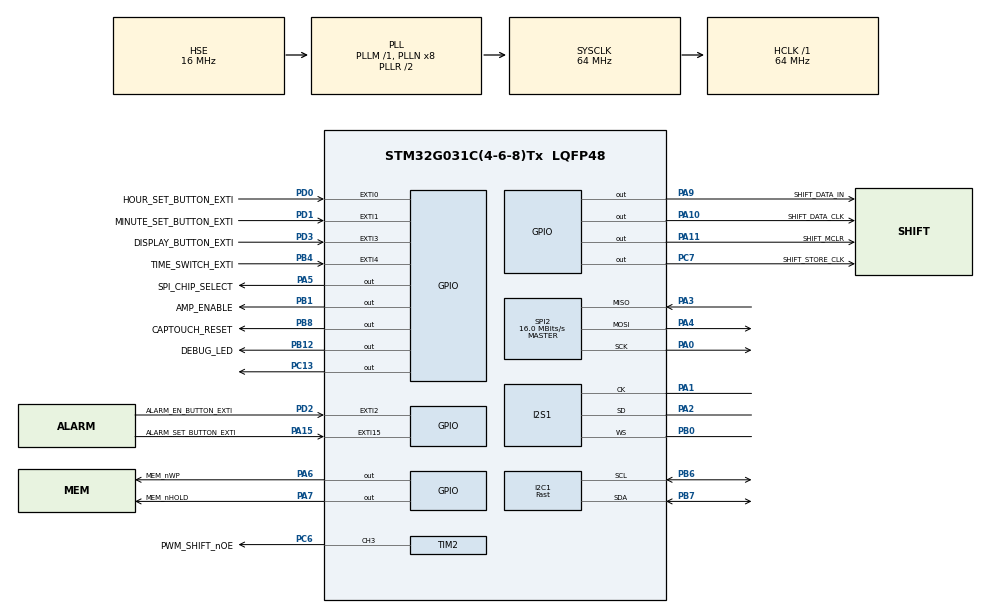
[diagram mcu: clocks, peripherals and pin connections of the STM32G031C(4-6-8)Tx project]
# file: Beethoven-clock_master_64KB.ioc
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Dma.Request0=SPI2_RX
Dma.Request1=SPI2_TX
Dma.Request2=SPI1_TX
Dma.SPI1_TX.2.Direction=DMA_MEMORY_TO_PERIPH
Dma.SPI1_TX.2.EventEnable=DISABLE
Dma.SPI1_TX.2.Instance=DMA1_Channel1
Dma.SPI1_TX.2.MemDataAlignment=DMA_MDATAALIGN_HALFWORD
Dma.SPI1_TX.2.MemInc=DMA_MINC_ENABLE
Dma.SPI1_TX.2.Mode=DMA_CIRCULAR
Dma.SPI1_TX.2.PeriphDataAlignment=DMA_PDATAALIGN_HALFWORD
Dma.SPI1_TX.2.PeriphInc=DMA_PINC_DISABLE
Dma.SPI1_TX.2.Polarity=HAL_DMAMUX_REQ_GEN_RISING
Dma.SPI1_TX.2.Priority=DMA_PRIORITY_VERY_HIGH
Dma.SPI1_TX.2.RequestNumber=1
Dma.SPI1_TX.2.SignalID=NONE
Dma.SPI1_TX.2.SyncEnable=DISABLE
Dma.SPI1_TX.2.SyncPolarity=HAL_DMAMUX_SYNC_NO_EVENT
Dma.SPI1_TX.2.SyncRequestNumber=1
Dma.SPI1_TX.2.SyncSignalID=NONE
Dma.SPI2_RX.0.Direction=DMA_PERIPH_TO_MEMORY
Dma.SPI2_RX.0.EventEnable=DISABLE
Dma.SPI2_RX.0.Instance=DMA1_Channel3
Dma.SPI2_RX.0.MemDataAlignment=DMA_MDATAALIGN_BYTE
Dma.SPI2_RX.0.MemInc=DMA_MINC_ENABLE
Dma.SPI2_RX.0.Mode=DMA_NORMAL
Dma.SPI2_RX.0.PeriphDataAlignment=DMA_PDATAALIGN_BYTE
Dma.SPI2_RX.0.PeriphInc=DMA_PINC_DISABLE
Dma.SPI2_RX.0.Polarity=HAL_DMAMUX_REQ_GEN_RISING
Dma.SPI2_RX.0.Priority=DMA_PRIORITY_HIGH
Dma.SPI2_RX.0.RequestNumber=1
Dma.SPI2_RX.0.SignalID=NONE
Dma.SPI2_RX.0.SyncEnable=DISABLE
Dma.SPI2_RX.0.SyncPolarity=HAL_DMAMUX_SYNC_NO_EVENT
Dma.SPI2_RX.0.SyncRequestNumber=1
Dma.SPI2_RX.0.SyncSignalID=NONE
Dma.SPI2_TX.1.Direction=DMA_MEMORY_TO_PERIPH
Dma.SPI2_TX.1.EventEnable=DISABLE
Dma.SPI2_TX.1.Instance=DMA1_Channel2
Dma.SPI2_TX.1.MemDataAlignment=DMA_MDATAALIGN_BYTE
Dma.SPI2_TX.1.MemInc=DMA_MINC_ENABLE
Dma.SPI2_TX.1.Mode=DMA_NORMAL
Dma.SPI2_TX.1.PeriphDataAlignment=DMA_PDATAALIGN_BYTE
Dma.SPI2_TX.1.PeriphInc=DMA_PINC_DISABLE
Dma.SPI2_TX.1.Polarity=HAL_DMAMUX_REQ_GEN_RISING
Dma.SPI2_TX.1.Priority=DMA_PRIORITY_HIGH
Dma.SPI2_TX.1.RequestNumber=1
Dma.SPI2_TX.1.SignalID=NONE
Dma.SPI2_TX.1.SyncEnable=DISABLE
Dma.SPI2_TX.1.SyncPolarity=HAL_DMAMUX_SYNC_NO_EVENT
Dma.SPI2_TX.1.SyncRequestNumber=1
Dma.SPI2_TX.1.SyncSignalID=NONE
I2C1.I2C_Speed_Mode=I2C_Fast
I2C1.Timing=0x00C12166
I2S1.AudioFreq=I2S_AUDIOFREQ_44K
I2S1.ErrorAudioFreq=1.0 %
I2S1.FullDuplexMode=I2S_FULLDUPLEXMODE_DISABLE
I2S1.Instance=SPI$Index
I2S1.RealAudioFreq=44.444 KHz
I2S1.VirtualMode=I2S_MODE_MASTER
Mcu.Family=STM32G0
Mcu.Name=STM32G031C(4-6-8)Tx
Mcu.Package=LQFP48
NVIC.DMA1_Channel1_IRQn=true\:0\:0\:false\:false\:true\:false\:true\:true
NVIC.DMA1_Channel2_3_IRQn=true\:0\:0\:false\:false\:true\:false\:true\:true
NVIC.EXTI0_1_IRQn=true\:1\:0\:true\:false\:true\:true\:true\:true
NVIC.EXTI2_3_IRQn=true\:2\:0\:true\:false\:true\:true\:true\:true
NVIC.EXTI4_15_IRQn=true\:2\:0\:true\:false\:true\:true\:true\:true
NVIC.RCC_IRQn=true\:0\:0\:false\:false\:true\:true\:false\:true
NVIC.RTC_TAMP_IRQn=true\:0\:0\:false\:false\:true\:true\:true\:true
NVIC.TIM16_IRQn=true\:1\:0\:true\:false\:true\:true\:true\:true
PA0.Mode=Full_Duplex_Master
PA0.Signal=SPI2_SCK
PA1.Mode=Half_Duplex_Master
PA1.Signal=I2S1_CK
PA10.GPIO_Label=SHIFT_DATA_CLK
PA10.Signal=GPIO_Output
PA11\ [PA9].GPIO_Label=SHIFT_MCLR
PA11\ [PA9].PinState=GPIO_PIN_SET
PA11\ [PA9].Signal=GPIO_Output
PA13.Mode=Serial_Wire
PA13.Signal=SYS_SWDIO
PA14-BOOT0.Mode=Serial_Wire
PA14-BOOT0.Signal=SYS_SWCLK
PA15.GPIO_Label=ALARM_SET_BUTTON_EXTI
PA15.GPIO_ModeDefaultEXTI=GPIO_MODE_IT_FALLING
PA15.GPIO_PuPd=GPIO_PULLUP
PA15.Signal=GPXTI15
PA2.Mode=Half_Duplex_Master
PA2.Signal=I2S1_SD
PA3.Mode=Full_Duplex_Master
PA3.Signal=SPI2_MISO
PA4.Mode=Full_Duplex_Master
PA4.Signal=SPI2_MOSI
PA5.GPIO_Label=SPI_CHIP_SELECT
PA5.PinState=GPIO_PIN_SET
PA5.Signal=GPIO_Output
PA6.GPIO_Label=MEM_nWP
PA6.PinState=GPIO_PIN_SET
PA6.Signal=GPIO_Output
PA7.GPIO_Label=MEM_nHOLD
PA7.PinState=GPIO_PIN_SET
PA7.Signal=GPIO_Output
PA9.GPIO_Label=SHIFT_DATA_IN
PA9.Signal=GPIO_Output
PB0.Mode=Half_Duplex_Master
PB0.Signal=I2S1_WS
PB1.GPIO_Label=AMP_ENABLE
PB1.Signal=GPIO_Output
PB12.GPIO_Label=DEBUG_LED
PB12.Signal=GPIO_Output
PB4.GPIO_Label=TIME_SWITCH_EXTI
PB4.GPIO_ModeDefaultEXTI=GPIO_MODE_IT_RISING_FALLING
PB4.GPIO_PuPd=GPIO_PULLUP
PB4.Signal=GPXTI4
PB6.Mode=I2C
PB6.Signal=I2C1_SCL
PB7.Mode=I2C
PB7.Signal=I2C1_SDA
PB8.GPIO_Label=CAPTOUCH_RESET
PB8.PinState=GPIO_PIN_SET
PB8.Signal=GPIO_Output
PC13.Signal=GPIO_Output
PC14-OSC32_IN\ (PC14).Mode=LSE-External-Oscillator
PC14-OSC32_IN\ (PC14).Signal=RCC_OSC32_IN
PC15-OSC32_OUT\ (PC15).Mode=LSE-External-Oscillator
PC15-OSC32_OUT\ (PC15).Signal=RCC_OSC32_OUT
PC6.GPIO_Label=PWM_SHIFT_nOE
PC6.Signal=S_TIM2_CH3
PC7.GPIO_Label=SHIFT_STORE_CLK
PC7.Signal=GPIO_Output
PD0.GPIO_Label=HOUR_SET_BUTTON_EXTI
PD0.GPIO_ModeDefaultEXTI=GPIO_MODE_IT_FALLING
PD0.GPIO_PuPd=GPIO_PULLUP
PD0.Signal=GPXTI0
PD1.GPIO_Label=MINUTE_SET_BUTTON_EXTI
PD1.GPIO_ModeDefaultEXTI=GPIO_MODE_IT_FALLING
PD1.GPIO_PuPd=GPIO_PULLUP
PD1.Signal=GPXTI1
PD2.GPIO_Label=ALARM_EN_BUTTON_EXTI
PD2.GPIO_ModeDefaultEXTI=GPIO_MODE_IT_FALLING
PD2.GPIO_PuPd=GPIO_PULLUP
PD2.Signal=GPXTI2
PD3.GPIO_Label=DISPLAY_BUTTON_EXTI
PD3.GPIO_ModeDefaultEXTI=GPIO_MODE_IT_FALLING
PD3.GPIO_PuPd=GPIO_PULLUP
PD3.Signal=GPXTI3
PF0-OSC_IN\ (PF0).Mode=HSE-External-Oscillator
PF0-OSC_IN\ (PF0).Signal=RCC_OSC_IN
PF1-OSC_OUT\ (PF1).Mode=HSE-External-Oscillator
PF1-OSC_OUT\ (PF1).Signal=RCC_OSC_OUT
ProjectManager.HeapSize=0x200
ProjectManager.StackSize=0x400
ProjectManager.TargetToolchain=STM32CubeIDE
RCC.ADCFreq_Value=64000000
RCC.AHBFreq_Value=64000000
RCC.CortexFreq_Value=64000000
RCC.EXTERNAL_CLOCK_VALUE=12288000
RCC.HCLKFreq_Value=64000000
RCC.HSE_VALUE=16000000
RCC.HSI_VALUE=16000000
RCC.PLLP=RCC_PLLP_DIV4
RCC.PLLSourceVirtual=RCC_PLLSOURCE_HSE
RCC.RTCClockSelection=RCC_RTCCLKSOURCE_LSE
RCC.SYSCLKFreq_VALUE=64000000
RCC.SYSCLKSource=RCC_SYSCLKSOURCE_PLLCLK
RCC.VCOOutputFreq_Value=128000000
RTC.Alarm-Alarm\ A=RTC_ALARM_A
RTC.AlarmMaskDateWeekDay-Alarm\ A=RTC_ALARMMASK_DATEWEEKDAY
RTC.AlarmMaskHours-Alarm\ A=RTC_ALARMMASK_HOURS
RTC.AlarmMaskSeconds-Alarm\ A=RTC_ALARMMASK_SECONDS
RTC.HourFormat=RTC_HOURFORMAT_12
RTC.Minutes_A-Alarm\ A=1
SH.S_TIM2_CH3.0=TIM2_CH3,PWM Generation3 CH3
SPI2.BaudRatePrescaler=SPI_BAUDRATEPRESCALER_4
SPI2.CLKPhase=SPI_PHASE_1EDGE
SPI2.CalculateBaudRate=16.0 MBits/s
SPI2.Direction=SPI_DIRECTION_2LINES
SPI2.Mode=SPI_MODE_MASTER
SPI2.VirtualType=VM_MASTER
TIM14.Prescaler=244*4
TIM16.Prescaler=58595
TIM16.RepetitionCounter=10
TIM2.Channel-PWM\ Generation3\ CH3=TIM_CHANNEL_3
TIM2.Period=100-1
TIM2.Prescaler=800-1
VP_RTC_VS_RTC_Activate.Mode=RTC_Enabled
VP_RTC_VS_RTC_Alarm_A_Intern.Mode=Alarm A
VP_RTC_VS_RTC_Calendar.Mode=RTC_Calendar
VP_TIM14_VS_ClockSourceINT.Mode=Enable_Timer
VP_TIM16_VS_ClockSourceINT.Mode=Enable_Timer
board=custom

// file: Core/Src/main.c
/* USER CODE BEGIN Header */
/**
  ******************************************************************************
  * @file           : main.c
  * @brief          : Main program body
  ******************************************************************************
  * @attention
  *
  * Copyright (c) 2024 STMicroelectronics.
  * All rights reserved.
  *
  * This software is licensed under terms that can be found in the LICENSE file
  * in the root directory of this software component.
  * If no LICENSE file comes with this software, it is provided AS-IS.
  *
  ******************************************************************************
  */
/* USER CODE END Header */
#include "main.h"

/* USER CODE BEGIN Includes */

/*
 * Include user alarm functions
 */
#ifndef ALARM_H_
#include "alarm.h"
#endif

/*
 * Include shift register library for quad 7-segment displays
 */
#ifndef SEVSEG_SHIFT_H_
#include "sevSeg_shift.h"
#endif

/*
 * Include board-specific variable mappings
 */
#ifndef BEETHOVENCLOCKVARS_H_
#include "beethovenClockVars.h"
#endif

/*
 * Include cap. touch interface library
 */
#ifndef AT42QT1070_H_
#include "AT42QT1070.h"
#endif

/*
 * Include SPI Flash Memeory Driver
 */
#ifndef W25QXXX_H_
#include "W25Qxxx.h"
#endif

/*
 * Include I2S Amplifier Driver
 */
#ifndef NAU8315YG_H_
#include "NAU8315YG.h"
#endif

/* USER CODE END Includes */

I2C_HandleTypeDef hi2c1;

I2S_HandleTypeDef hi2s1;
DMA_HandleTypeDef hdma_spi1_tx;

RTC_HandleTypeDef hrtc;

SPI_HandleTypeDef hspi2;
DMA_HandleTypeDef hdma_spi2_rx;
DMA_HandleTypeDef hdma_spi2_tx;

TIM_HandleTypeDef htim2;
TIM_HandleTypeDef htim14;
TIM_HandleTypeDef htim16;

/* USER CODE BEGIN PV */

/*
 * Timer to be used for PWMing display
 */
TIM_HandleTypeDef *timerPWM = &htim2;

/*
 * Timer to be used for non-blocking delays
 */
TIM_HandleTypeDef *timerDelay = &htim14;

/*
 * Timer to be used for long 10-minute snooze
 */
TIM_HandleTypeDef *timerSnooze = &htim16;

/*
 * Counts up to timerSnooze_RCR for long snooze delay
 */

uint8_t snoozeCounter = 0;

/*
 * State bools
 */

// Used to flag alarm set mode
bool alarmSetMode = false;

/*
 * Used to indicate whether the clock is in a
 * state to sound a snoozed alarm again after 10 minutes.
 * false = regular operation, true = 10-minute snooze period
 */
bool secondSnooze = false;

// Used to indicate whether or not we are in alarm beep state
bool beepMode = false;

/*
 * Cap. touch struct
 */
QT1070 capTouch;

/*
 * SPI Flash memory struct
 */
W25Q spiFlash;

/*
 * I2S amplifier struct
 */
NAU8315YG i2sAmp;

/*
 * DMA buffers & flags
 */

// Two buffers to ping-pong in between for SPI RX
uint8_t spiRxBuff[BUFFER_SIZE];

// Single circular output buffer to TX I2S audio data
uint16_t i2sTxBuff[BUFFER_SIZE * 2];
//uint16_t i2sTxBuff[BUFFER_SIZE * 2];

// Variable to keep track of where to read audio data from in memory
uint32_t flashReadAddr = initialMemoryOffset;

/* USER CODE END PV */

void SystemClock_Config(void);
static void MX_GPIO_Init(void);
static void MX_DMA_Init(void);
static void MX_I2C1_Init(void);
static void MX_I2S1_Init(void);
static void MX_RTC_Init(void);
static void MX_SPI2_Init(void);
static void MX_TIM2_Init(void);
static void MX_TIM14_Init(void);
static void MX_TIM16_Init(void);
/* USER CODE BEGIN PFP */

/*
 * Call to fetch the current time from the RTC and send to the LED display.
 *
 * @param none
 *
 * @ret HAL status object
 */
HAL_StatusTypeDef updateAndDisplayTime(void);

/*
 * Call to fetch the current alarm from the RTC and send to the LED display.
 *
 * @param none
 *
 * @ret HAL status object
 */
HAL_StatusTypeDef updateAndDisplayAlarm(void);

/*
 * Called on interrupt from display button to toggle 7-segment intensity.
 *
 * @param none
 *
 * @ret HAL status object
 */
HAL_StatusTypeDef displayButtonISR(void);

/*
 * Called on interrupt from alarm enable button to toggle user alarm.
 *
 * @param none
 *
 * @ret HAL status object
 */
HAL_StatusTypeDef alarmEnableISR(void);

/*
 * Called on interrupt from alarm set button to enter alarm set loop.
 *
 * @param none
 *
 * @ret HAL status object
 */
HAL_StatusTypeDef alarmSetISR(void);

/*
 * Called on interrupt from hour and minute set buttons.
 * Contain logic to set user alarm hour or minute.
 *
 * @param none
 *
 * @ret HAL status object
 */
HAL_StatusTypeDef hourSetISR(void);
HAL_StatusTypeDef minuteSetISR(void);

/*
 * Called on interrupt from time format switch
 * Contains logic to change RTC time format
 */
HAL_StatusTypeDef timeFormatSwitchISR(void);

/*
 * Hour and minute incrementing functions for alarm time and current time
 */
void alarmHourInc(void);
void currHourInc(void);
void alarmMinuteInc(void);
void currMinuteInc(void);

/*
 * Enters loop to signal user alarm
 */
void userAlarmBeep(void);

/*
 * Displays non-critical error on debug LED and continues functionality
 */
void dispFault();

/*
 * Displays Critical Error on clock and halts all functionality
 */
void dispFailure();

/*
 * Updates RTC Backup Registers with user alarm time
 */
void updateRTCBackupReg(void);

/*
 * Begins double-buffered DMA streams to provide audio output
 */
void startAudioStream(void);

/*
 * Halts double-buffered DMA streams
 */
void stopAudioStream(void);

/*
 * Converts the passed RTC time to the same time expressed in 24 hour (military) time
 */
RTC_TimeTypeDef conv2Mil(RTC_TimeTypeDef *oldTime);

// Fills I2S tx buffer at a given array index offset
void fillTxBuffer(uint16_t offset);

/* USER CODE END PFP */

int main(void)
{

  /* MCU Configuration--------------------------------------------------------*/

  /* Reset of all peripherals, Initializes the Flash interface and the Systick. */
	HAL_Init();

  /* Configure the system clock */
  SystemClock_Config();

  /* Initialize all configured peripherals */
  MX_GPIO_Init();
  MX_DMA_Init();
  MX_RTC_Init();
  MX_I2C1_Init();
  MX_I2S1_Init();
  MX_SPI2_Init();
  MX_TIM2_Init();
  MX_TIM14_Init();
  MX_TIM16_Init();
  /* USER CODE BEGIN 2 */

	  // HAL Status handle for error-checking
	  HAL_StatusTypeDef halRet = HAL_OK;

	  // Determine which time format we will be using
	  	if(HAL_GPIO_ReadPin(timeFormatSwitchPort, timeFormatSwitchPin) == userTimeFormatGPIO_12) {
	  	  userTimeFormat = RTC_HOURFORMAT_12;
	  	}
	  	else {
	  	  userTimeFormat = RTC_HOURFORMAT_24;
	  	}

  	  // Set Smooth Calibration Value
	  halRet = HAL_RTCEx_SetSmoothCalib(&hrtc, RTC_SMOOTHCALIB_PERIOD_8SEC,
									RTC_SMOOTHCALIB_PLUSPULSES_RESET, rtcCalVal);
	  if(halRet != HAL_OK) {
		  // Failure to talk to RTC is a hard failure
		  dispFailure();
	  }

	  // Init the internal RTC alarm time to track the current time
	  halRet = initRTCInternalAlarm(&hrtc, &currTime, &currDate);
	  if(halRet != HAL_OK) {
		  // Failure to initialize RTC alarm is a hard failure
		  dispFailure();
		}

	  // Initialize all GPIOs to be used with 7 segment display
		sevSeg_Init(shiftDataPin, shiftDataClockPin, shiftStoreClockPin,
					shiftOutputEnablePin, shiftMCLRPin,
					GPIOPortArray, timerDelay, timerPWM, tim_PWM_CHANNEL);

		halRet = updateAndDisplayTime();
		if(halRet != HAL_OK) {
		  // Failure to display current time is a hard failure
		  dispFailure();
		}

    /*
     * Initialize capacitive touch sensor
     */

		// Used to separate return initializations into critical and non-critical errors.
		uint8_t initRet = 0;

		initRet = capTouch_Init(&capTouch, &hi2c1, timerDelay,
								&capTouchResetPort, capTouchResetPin, capTouchChannels);
		if( (initRet == 1) || (initRet == 3) || (initRet == 4)) {

			/* Critical Errors:
			 * 1 = Failure to read correct device ID
			 * 2 = Failure to read Keys
			 * 3 = Failure to enable keys
			 */
			dispFailure();
		}
		else if (initRet == 2) {
			/*
			 * Non-critical Errors:
			 * 2 = Failure to Recalibrate
			 */
			dispFault();
		}
		else if(initRet == 0) {
			// initRet = 0 = all is well
			__NOP();
		}

		// Set averaging factor
		uint8_t avgFactors_New[7] = {AVGFact, AVGFact, AVGFact, AVGFact, 0, 0, 0};
		halRet = capTouch_SetAveragingFactor(&capTouch, avgFactors_New);

		if(halRet != HAL_OK) {
			// This is sensitivity-setting and a non-critical error
			dispFault();
		}

		// Set detection integration factors
		uint8_t detIntFactors_New[7] = {DIFact, DIFact, DIFact, DIFact, DIFact, DIFact, DIFact};
		halRet = capTouch_SetDetectionIntegrator(&capTouch, detIntFactors_New);
		if(halRet != HAL_OK) {
			// This is sensitivity-setting and a non-critical error
			dispFault();
		}

		userAlarmToggle = false;			//Default to off

    /*
     * If the bootstrap backup register reads 0x00 (never written to,)
     * initialize the alarm time to a default value.
     *
     * Else, initialize to whatever is stored in backup registers.
     */

		if((uint8_t)HAL_RTCEx_BKUPRead(&hrtc, bootstrapBackupReg) == 0) {

			HAL_RTCEx_BKUPWrite(&hrtc, userAlarmHourBackupReg, 0x01);
			HAL_RTCEx_BKUPWrite(&hrtc, userAlarmMinuteBackupReg, 0x00);
			HAL_RTCEx_BKUPWrite(&hrtc, userAlarmTFBackupReg, RTC_HOURFORMAT12_AM);

			// Write backup register with a non-zero value to signify that it has been initialized before
			HAL_RTCEx_BKUPWrite(&hrtc, bootstrapBackupReg, 0xFFFFFFFF);

		}

		userAlarmTime.Hours = (uint8_t)HAL_RTCEx_BKUPRead(&hrtc, userAlarmHourBackupReg);
		userAlarmTime.Minutes = (uint8_t)HAL_RTCEx_BKUPRead(&hrtc, userAlarmMinuteBackupReg);
		userAlarmTime.TimeFormat = (uint8_t)HAL_RTCEx_BKUPRead(&hrtc, userAlarmTFBackupReg);

		// Init Memory Chip
		initRet = W25Q_Init(&spiFlash, nCSPort, nWPPort, nHOLDPort,
	    		 nCSPin, nWPPin, nHOLDPin, &hspi2, spiFlash_devID, spiFlash_isQuadChip, spiFlash_driveStrength);

		// Enter error loop if there's an error in initialization
		if( (initRet == 1) || (initRet == 7) ) {
			/* Critical Errors:
			* 1 = Failure to release chip from power down
			* 7 = Failure to disable write protection
			*/
			dispFailure();
		}
		else if ( ((initRet >= 2) && (initRet <= 6)) || (initRet == 8) ) {
			/*
			* Non-critical Errors:
			* 2 = Failure to reset chip
			* 3,6,8 = Failure to read status registers
			* 4 = Failure to set driver strength
			* 5 = Failure to read device ID
			*/
			dispFault();
		}
		else if(initRet == 0) {
			// initRet = 0 = all is well
			__NOP();
		}

		// Init i2s amplifier
		NAU8315YG_Init(&i2sAmp, &hi2s1, i2sAmp_enablePort, i2sAmp_enablePin);

		// Increase SPI clk driver power
		GPIOA->OSPEEDR |= 0b11;

//		startAudioStream();

  /* USER CODE END 2 */

  /* Infinite loop */
  while (1)
  {
	  if(beepMode) {
		  userAlarmBeep();
	  }

  }
}

void SystemClock_Config(void)
{
  RCC_OscInitTypeDef RCC_OscInitStruct = {0};
  RCC_ClkInitTypeDef RCC_ClkInitStruct = {0};

  /** Configure the main internal regulator output voltage
  */
  HAL_PWREx_ControlVoltageScaling(PWR_REGULATOR_VOLTAGE_SCALE1);

  /** Configure LSE Drive Capability
  */
  HAL_PWR_EnableBkUpAccess();
  __HAL_RCC_LSEDRIVE_CONFIG(RCC_LSEDRIVE_LOW);

  /** Initializes the RCC Oscillators according to the specified parameters
  * in the RCC_OscInitTypeDef structure.
  */
  RCC_OscInitStruct.OscillatorType = RCC_OSCILLATORTYPE_HSE|RCC_OSCILLATORTYPE_LSE;
  RCC_OscInitStruct.HSEState = RCC_HSE_ON;
  RCC_OscInitStruct.LSEState = RCC_LSE_ON;
  RCC_OscInitStruct.PLL.PLLState = RCC_PLL_ON;
  RCC_OscInitStruct.PLL.PLLSource = RCC_PLLSOURCE_HSE;
  RCC_OscInitStruct.PLL.PLLM = RCC_PLLM_DIV1;
  RCC_OscInitStruct.PLL.PLLN = 8;
  RCC_OscInitStruct.PLL.PLLP = RCC_PLLP_DIV4;
  RCC_OscInitStruct.PLL.PLLQ = RCC_PLLQ_DIV2;
  RCC_OscInitStruct.PLL.PLLR = RCC_PLLR_DIV2;
  if (HAL_RCC_OscConfig(&RCC_OscInitStruct) != HAL_OK)
  {
    Error_Handler();
  }

  /** Initializes the CPU, AHB and APB buses clocks
  */
  RCC_ClkInitStruct.ClockType = RCC_CLOCKTYPE_HCLK|RCC_CLOCKTYPE_SYSCLK
                              |RCC_CLOCKTYPE_PCLK1;
  RCC_ClkInitStruct.SYSCLKSource = RCC_SYSCLKSOURCE_PLLCLK;
  RCC_ClkInitStruct.AHBCLKDivider = RCC_SYSCLK_DIV1;
  RCC_ClkInitStruct.APB1CLKDivider = RCC_HCLK_DIV1;

  if (HAL_RCC_ClockConfig(&RCC_ClkInitStruct, FLASH_LATENCY_2) != HAL_OK)
  {
    Error_Handler();
  }
}

static void MX_I2C1_Init(void)
{

  hi2c1.Instance = I2C1;
  hi2c1.Init.Timing = 0x00C12166;
  hi2c1.Init.OwnAddress1 = 0;
  hi2c1.Init.AddressingMode = I2C_ADDRESSINGMODE_7BIT;
  hi2c1.Init.DualAddressMode = I2C_DUALADDRESS_DISABLE;
  hi2c1.Init.OwnAddress2 = 0;
  hi2c1.Init.OwnAddress2Masks = I2C_OA2_NOMASK;
  hi2c1.Init.GeneralCallMode = I2C_GENERALCALL_DISABLE;
  hi2c1.Init.NoStretchMode = I2C_NOSTRETCH_DISABLE;
  if (HAL_I2C_Init(&hi2c1) != HAL_OK)
  {
    Error_Handler();
  }

  /** Configure Analogue filter
  */
  if (HAL_I2CEx_ConfigAnalogFilter(&hi2c1, I2C_ANALOGFILTER_ENABLE) != HAL_OK)
  {
    Error_Handler();
  }

  /** Configure Digital filter
  */
  if (HAL_I2CEx_ConfigDigitalFilter(&hi2c1, 0) != HAL_OK)
  {
    Error_Handler();
  }

}

static void MX_I2S1_Init(void)
{

  hi2s1.Instance = SPI1;
  hi2s1.Init.Mode = I2S_MODE_MASTER_TX;
  hi2s1.Init.Standard = I2S_STANDARD_PHILIPS;
  hi2s1.Init.DataFormat = I2S_DATAFORMAT_16B;
  hi2s1.Init.MCLKOutput = I2S_MCLKOUTPUT_DISABLE;
  hi2s1.Init.AudioFreq = I2S_AUDIOFREQ_44K;
  hi2s1.Init.CPOL = I2S_CPOL_LOW;
  if (HAL_I2S_Init(&hi2s1) != HAL_OK)
  {
    Error_Handler();
  }

}

static void MX_RTC_Init(void)
{

//  RTC_TimeTypeDef sTime = {0};
//  RTC_DateTypeDef sDate = {0};
  RTC_AlarmTypeDef sAlarm = {0};

  /** Initialize RTC Only
  */
  hrtc.Instance = RTC;
  hrtc.Init.HourFormat = RTC_HOURFORMAT_12;
  hrtc.Init.AsynchPrediv = 127;
  hrtc.Init.SynchPrediv = 255;
  hrtc.Init.OutPut = RTC_OUTPUT_DISABLE;
  hrtc.Init.OutPutRemap = RTC_OUTPUT_REMAP_NONE;
  hrtc.Init.OutPutPolarity = RTC_OUTPUT_POLARITY_HIGH;
  hrtc.Init.OutPutType = RTC_OUTPUT_TYPE_OPENDRAIN;
  hrtc.Init.OutPutPullUp = RTC_OUTPUT_PULLUP_NONE;
  if (HAL_RTC_Init(&hrtc) != HAL_OK)
  {
    Error_Handler();
  }

  /** Initialize RTC and set the Time and Date
  */
//  sTime.Hours = 0x1;
//  sTime.Minutes = 0x0;
//  sTime.Seconds = 0x0;
//  sTime.SubSeconds = 0x0;
//  sTime.TimeFormat = RTC_HOURFORMAT12_AM;
//  sTime.DayLightSaving = RTC_DAYLIGHTSAVING_NONE;
//  sTime.StoreOperation = RTC_STOREOPERATION_RESET;
//  if (HAL_RTC_SetTime(&hrtc, &sTime, RTC_FORMAT_BCD) != HAL_OK)
//  {
//    Error_Handler();
//  }
//  sDate.WeekDay = RTC_WEEKDAY_MONDAY;
//  sDate.Month = RTC_MONTH_JANUARY;
//  sDate.Date = 0x1;
//  sDate.Year = 0x0;
//
//  if (HAL_RTC_SetDate(&hrtc, &sDate, RTC_FORMAT_BCD) != HAL_OK)
//  {
//    Error_Handler();
//  }

  /** Enable the Alarm A
  */
  sAlarm.AlarmTime.Hours = 0x1;
  sAlarm.AlarmTime.Minutes = 0x1;
  sAlarm.AlarmTime.Seconds = 0x0;
  sAlarm.AlarmTime.SubSeconds = 0x0;
  sAlarm.AlarmTime.TimeFormat = RTC_HOURFORMAT12_AM;
  sAlarm.AlarmTime.DayLightSaving = RTC_DAYLIGHTSAVING_NONE;
  sAlarm.AlarmTime.StoreOperation = RTC_STOREOPERATION_RESET;
  sAlarm.AlarmMask = RTC_ALARMMASK_DATEWEEKDAY|RTC_ALARMMASK_HOURS
                              |RTC_ALARMMASK_SECONDS;
  sAlarm.AlarmSubSecondMask = RTC_ALARMSUBSECONDMASK_ALL;
  sAlarm.AlarmDateWeekDaySel = RTC_ALARMDATEWEEKDAYSEL_DATE;
  sAlarm.AlarmDateWeekDay = 0x1;
  sAlarm.Alarm = RTC_ALARM_A;
  if (HAL_RTC_SetAlarm_IT(&hrtc, &sAlarm, RTC_FORMAT_BCD) != HAL_OK)
  {
    Error_Handler();
  }
  /* USER CODE BEGIN RTC_Init 2 */

  // Do not initialize time - pull from whatever is in register
    HAL_RTC_GetTime(&hrtc, &currTime, RTCTimeFormat);

  /* USER CODE END RTC_Init 2 */

}

static void MX_SPI2_Init(void)
{

  /* SPI2 parameter configuration*/
  hspi2.Instance = SPI2;
  hspi2.Init.Mode = SPI_MODE_MASTER;
  hspi2.Init.Direction = SPI_DIRECTION_2LINES;
  hspi2.Init.DataSize = SPI_DATASIZE_8BIT;
  hspi2.Init.CLKPolarity = SPI_POLARITY_LOW;
  hspi2.Init.CLKPhase = SPI_PHASE_1EDGE;
  hspi2.Init.NSS = SPI_NSS_SOFT;
  hspi2.Init.BaudRatePrescaler = SPI_BAUDRATEPRESCALER_4;
  hspi2.Init.FirstBit = SPI_FIRSTBIT_MSB;
  hspi2.Init.TIMode = SPI_TIMODE_DISABLE;
  hspi2.Init.CRCCalculation = SPI_CRCCALCULATION_DISABLE;
  hspi2.Init.CRCPolynomial = 7;
  hspi2.Init.CRCLength = SPI_CRC_LENGTH_DATASIZE;
  hspi2.Init.NSSPMode = SPI_NSS_PULSE_DISABLE;
  if (HAL_SPI_Init(&hspi2) != HAL_OK)
  {
    Error_Handler();
  }

}

static void MX_TIM2_Init(void)
{

  TIM_MasterConfigTypeDef sMasterConfig = {0};
  TIM_OC_InitTypeDef sConfigOC = {0};

  htim2.Instance = TIM2;
  htim2.Init.Prescaler = 800-1;
  htim2.Init.CounterMode = TIM_COUNTERMODE_UP;
  htim2.Init.Period = 100-1;
  htim2.Init.ClockDivision = TIM_CLOCKDIVISION_DIV1;
  htim2.Init.AutoReloadPreload = TIM_AUTORELOAD_PRELOAD_DISABLE;
  if (HAL_TIM_PWM_Init(&htim2) != HAL_OK)
  {
    Error_Handler();
  }
  sMasterConfig.MasterOutputTrigger = TIM_TRGO_RESET;
  sMasterConfig.MasterSlaveMode = TIM_MASTERSLAVEMODE_DISABLE;
  if (HAL_TIMEx_MasterConfigSynchronization(&htim2, &sMasterConfig) != HAL_OK)
  {
    Error_Handler();
  }
  sConfigOC.OCMode = TIM_OCMODE_PWM1;
  sConfigOC.Pulse = 0;
  sConfigOC.OCPolarity = TIM_OCPOLARITY_HIGH;
  sConfigOC.OCFastMode = TIM_OCFAST_DISABLE;
  if (HAL_TIM_PWM_ConfigChannel(&htim2, &sConfigOC, TIM_CHANNEL_3) != HAL_OK)
  {
    Error_Handler();
  }
  HAL_TIM_MspPostInit(&htim2);

}

static void MX_TIM14_Init(void)
{

  htim14.Instance = TIM14;
  htim14.Init.Prescaler = 244*4;
  htim14.Init.CounterMode = TIM_COUNTERMODE_UP;
  htim14.Init.Period = 65535;
  htim14.Init.ClockDivision = TIM_CLOCKDIVISION_DIV1;
  htim14.Init.AutoReloadPreload = TIM_AUTORELOAD_PRELOAD_DISABLE;
  if (HAL_TIM_Base_Init(&htim14) != HAL_OK)
  {
    Error_Handler();
  }

}

static void MX_TIM16_Init(void)
{

  htim16.Instance = TIM16;
  htim16.Init.Prescaler = (58595 / 10) - 1;
  htim16.Init.CounterMode = TIM_COUNTERMODE_UP;
  htim16.Init.Period = 65535;
  htim16.Init.ClockDivision = TIM_CLOCKDIVISION_DIV1;
  htim16.Init.RepetitionCounter = 0;
  htim16.Init.AutoReloadPreload = TIM_AUTORELOAD_PRELOAD_DISABLE;
  if (HAL_TIM_Base_Init(&htim16) != HAL_OK)
  {
    Error_Handler();
  }
  /* USER CODE BEGIN TIM16_Init 2 */

  // Decrease interrupt priority
  HAL_NVIC_SetPriority(TIM16_IRQn, 1, 0);
  HAL_NVIC_EnableIRQ(TIM16_IRQn);

  // Clear SR interrupts
  __HAL_TIM_CLEAR_IT(timerSnooze, TIM_IT_UPDATE);

  /* USER CODE END TIM16_Init 2 */

}

static void MX_DMA_Init(void)
{

  /* DMA controller clock enable */
  __HAL_RCC_DMA1_CLK_ENABLE();

  /* DMA interrupt init */
  /* DMA1_Channel1_IRQn interrupt configuration */
  HAL_NVIC_SetPriority(DMA1_Channel1_IRQn, 0, 0);
  HAL_NVIC_EnableIRQ(DMA1_Channel1_IRQn);
  /* DMA1_Channel2_3_IRQn interrupt configuration */
  HAL_NVIC_SetPriority(DMA1_Channel2_3_IRQn, 0, 0);
  HAL_NVIC_EnableIRQ(DMA1_Channel2_3_IRQn);

}

static void MX_GPIO_Init(void)
{
  GPIO_InitTypeDef GPIO_InitStruct = {0};

  /* GPIO Ports Clock Enable */
  __HAL_RCC_GPIOC_CLK_ENABLE();
  __HAL_RCC_GPIOF_CLK_ENABLE();
  __HAL_RCC_GPIOA_CLK_ENABLE();
  __HAL_RCC_GPIOB_CLK_ENABLE();
  __HAL_RCC_GPIOD_CLK_ENABLE();

  /*Configure GPIO pin Output Level */
  HAL_GPIO_WritePin(GPIOC, GPIO_PIN_13|SHIFT_STORE_CLK_Pin, GPIO_PIN_RESET);

  /*Configure GPIO pin Output Level */
  HAL_GPIO_WritePin(GPIOA, SPI_CHIP_SELECT_Pin|MEM_nWP_Pin|MEM_nHOLD_Pin|SHIFT_MCLR_Pin, GPIO_PIN_SET);

  /*Configure GPIO pin Output Level */
  HAL_GPIO_WritePin(GPIOB, AMP_ENABLE_Pin|DEBUG_LED_Pin, GPIO_PIN_RESET);

  /*Configure GPIO pin Output Level */
  HAL_GPIO_WritePin(GPIOA, SHIFT_DATA_IN_Pin|SHIFT_DATA_CLK_Pin, GPIO_PIN_RESET);

  /*Configure GPIO pin Output Level */
  HAL_GPIO_WritePin(CAPTOUCH_RESET_GPIO_Port, CAPTOUCH_RESET_Pin, GPIO_PIN_SET);

  /*Configure GPIO pins : PC13 SHIFT_STORE_CLK_Pin */
  GPIO_InitStruct.Pin = GPIO_PIN_13|SHIFT_STORE_CLK_Pin;
  GPIO_InitStruct.Mode = GPIO_MODE_OUTPUT_PP;
  GPIO_InitStruct.Pull = GPIO_NOPULL;
  GPIO_InitStruct.Speed = GPIO_SPEED_FREQ_LOW;
  HAL_GPIO_Init(GPIOC, &GPIO_InitStruct);

  /*Configure GPIO pins : SPI_CHIP_SELECT_Pin MEM_nWP_Pin MEM_nHOLD_Pin SHIFT_DATA_IN_Pin
                           SHIFT_DATA_CLK_Pin SHIFT_MCLR_Pin */
  GPIO_InitStruct.Pin = SPI_CHIP_SELECT_Pin|MEM_nWP_Pin|MEM_nHOLD_Pin|SHIFT_DATA_IN_Pin
                          |SHIFT_DATA_CLK_Pin|SHIFT_MCLR_Pin;
  GPIO_InitStruct.Mode = GPIO_MODE_OUTPUT_PP;
  GPIO_InitStruct.Pull = GPIO_NOPULL;
  GPIO_InitStruct.Speed = GPIO_SPEED_FREQ_LOW;
  HAL_GPIO_Init(GPIOA, &GPIO_InitStruct);

  /*Configure GPIO pins : AMP_ENABLE_Pin DEBUG_LED_Pin CAPTOUCH_RESET_Pin */
  GPIO_InitStruct.Pin = AMP_ENABLE_Pin|DEBUG_LED_Pin|CAPTOUCH_RESET_Pin;
  GPIO_InitStruct.Mode = GPIO_MODE_OUTPUT_PP;
  GPIO_InitStruct.Pull = GPIO_NOPULL;
  GPIO_InitStruct.Speed = GPIO_SPEED_FREQ_LOW;
  HAL_GPIO_Init(GPIOB, &GPIO_InitStruct);

  /*Configure GPIO pin : ALARM_SET_BUTTON_EXTI_Pin */
  GPIO_InitStruct.Pin = ALARM_SET_BUTTON_EXTI_Pin;
  GPIO_InitStruct.Mode = GPIO_MODE_IT_FALLING;
  GPIO_InitStruct.Pull = GPIO_PULLUP;
  HAL_GPIO_Init(ALARM_SET_BUTTON_EXTI_GPIO_Port, &GPIO_InitStruct);

  /*Configure GPIO pins : HOUR_SET_BUTTON_EXTI_Pin MINUTE_SET_BUTTON_EXTI_Pin ALARM_EN_BUTTON_EXTI_Pin DISPLAY_BUTTON_EXTI_Pin */
  GPIO_InitStruct.Pin = HOUR_SET_BUTTON_EXTI_Pin|MINUTE_SET_BUTTON_EXTI_Pin|ALARM_EN_BUTTON_EXTI_Pin|DISPLAY_BUTTON_EXTI_Pin;
  GPIO_InitStruct.Mode = GPIO_MODE_IT_FALLING;
  GPIO_InitStruct.Pull = GPIO_PULLUP;
  HAL_GPIO_Init(GPIOD, &GPIO_InitStruct);

  /*Configure GPIO pin : TIME_SWITCH_EXTI_Pin */
  GPIO_InitStruct.Pin = TIME_SWITCH_EXTI_Pin;
  GPIO_InitStruct.Mode = GPIO_MODE_IT_RISING_FALLING;
  GPIO_InitStruct.Pull = GPIO_PULLUP;
  HAL_GPIO_Init(TIME_SWITCH_EXTI_GPIO_Port, &GPIO_InitStruct);

  /* EXTI interrupt init*/
  HAL_NVIC_SetPriority(EXTI0_1_IRQn, 1, 0);
  HAL_NVIC_EnableIRQ(EXTI0_1_IRQn);

  HAL_NVIC_SetPriority(EXTI2_3_IRQn, 2, 0);
  HAL_NVIC_EnableIRQ(EXTI2_3_IRQn);

  HAL_NVIC_SetPriority(EXTI4_15_IRQn, 2, 0);
  HAL_NVIC_EnableIRQ(EXTI4_15_IRQn);

}

/* USER CODE BEGIN 4 */

/*
 * Pulls updated time from RTC and send new time to user display
 */
HAL_StatusTypeDef updateAndDisplayTime(void) {

	HAL_StatusTypeDef halRet = HAL_OK;

	getRTCTime(&hrtc, &currTime, &currDate);

	// If the user wants 24-hour time, shift the time accordingly
	if((userTimeFormat == RTC_HOURFORMAT_24)) {

		RTC_TimeTypeDef currTimeMil = conv2Mil(&currTime);

		sevSeg_updateDigits(&currTimeMil, userAlarmToggle);

	}
	else {
		sevSeg_updateDigits(&currTime, userAlarmToggle);
	}

	return halRet;

}

/*
 * Sends current user alarm time to user display
 * This doesn't pull from the RTC because the RTC alarm is not being used for that
 */

HAL_StatusTypeDef updateAndDisplayAlarm(void) {

	HAL_StatusTypeDef halRet = HAL_OK;

	// If the user wants 24-hour time, shift the time accordingly
	if((userTimeFormat == RTC_HOURFORMAT_24)) {

		RTC_TimeTypeDef userAlarmTimeMil = conv2Mil(&userAlarmTime);

		sevSeg_updateDigits(&userAlarmTimeMil, userAlarmToggle);

	}
	else {
		sevSeg_updateDigits(&userAlarmTime, userAlarmToggle);
	}

	return halRet;

}

/*
 * Interrupt callback function for RTC interrupt kickback
 * Occurs every minute increment
 *
 * Pulls alarm time from RTC, increments and sets new alarm time, and updates time.
 * Sets off user alarm if the alarm is enabled.
 */
void HAL_RTC_AlarmAEventCallback(RTC_HandleTypeDef *hrtc) {

	  RTC_AlarmTypeDef sAlarm = {0};
	  HAL_RTC_GetAlarm(hrtc, &sAlarm, internalAlarm, RTCTimeFormat);

	  getRTCTime(hrtc, &currTime, &currDate);

	  if(currTime.Minutes > 58) {

	  		sAlarm.AlarmTime.Minutes = 0;

	  	  } else {

	  		sAlarm.AlarmTime.Minutes = currTime.Minutes + 1;

	  	  }
		while(HAL_RTC_SetAlarm_IT(hrtc, &sAlarm, FORMAT_BIN)!=HAL_OK){}

	  updateAndDisplayTime();

	  // If alarm is enabled and current time matches user alarm time, set off the alarm.
	  if(userAlarmToggle && userAlarmTime.Hours == currTime.Hours
			  && userAlarmTime.Minutes == currTime.Minutes && userAlarmTime.TimeFormat == currTime.TimeFormat) {
		  beepMode = true;
	  }

}

/*
 * If user alarm is enabled and the RTC time equals the user alarm time, this function is entered.
 *
 * This function blinks the display LEDs and plays sound until the user
 * disables this beeping through cap. touch or the alarm enable button.
 *
 * Functionality depends on whether or not this is the first or second snooze.
 * 		First Snooze: 10-minute timer is started and alarm
 * 		              is beeped again at the end of this 10 minutes.
 * 		Second Snooze: No timer is started and silencing the alarm silences it for good.
 */
void userAlarmBeep() {

	if (secondSnooze) { 		//If the user has already snoozed once,

		// Stop the timer and
		HAL_TIM_Base_Stop_IT(timerSnooze);

		// Reset count to 0
		// only bits 0 - 15 should be changed.
		timerSnooze->Instance->CNT &= 0xFFFF0000;

		// Reset interrupt status register
		timerSnooze->Instance->SR &= 0xFFFC;

	}

	HAL_TIM_Base_Stop(timerDelay);
	HAL_TIM_Base_Start(timerDelay);						// Begin timer 16 counting (to 500 ms)
	uint32_t timerVal = __HAL_TIM_GET_COUNTER(timerDelay);	// Get initial timer value to compare to
	bool displayBlink = false;

	// Start audio DMA streams
	startAudioStream();

	do {						// Beep buzzer and blink display until snooze button is pressed

		updateAndDisplayTime();				// Update to current time and display

		if(__HAL_TIM_GET_COUNTER(timerDelay) - timerVal >= (65535 / 2)) {		// Use hardware timer to blink/beep display

			sevSeg_setIntensity(sevSeg_intensityDuty[displayBlink]);	// Toggle 0% to 50% duty cycle

			timerVal = __HAL_TIM_GET_COUNTER(timerDelay);				// Update timer value

			displayBlink = !displayBlink;							// Toggle display blink counter

		}

		capTouch_readChannels(&capTouch);

	} while(capTouch.keyStat == 0x00 &&
			(HAL_GPIO_ReadPin(alarmEnableButtonPort, alarmEnableButtonPin) != GPIO_PIN_RESET));

	/*
	 * Stop blinking, turn off audio, set 50% duty cycle, update time
	 */
	HAL_TIM_Base_Stop(timerDelay);

	// Stop audio stream
	stopAudioStream();

	updateAndDisplayTime();				// Update to current time and display
	sevSeg_setIntensity(sevSeg_intensityDuty[1]);	// Set display to on
	displayToggle = 0;								// Set to 2 for future display button ISRs

	// If this is the first snooze,
	if(!secondSnooze) {

		// Start the snooze timer to trigger an interrupt after 10 minutes
		HAL_TIM_Base_Start_IT(timerSnooze);

		// Set flag
		secondSnooze = true;

	} else {

		snoozeCounter = 0;

		// Reset flag
		/*
		 * This must be done here because if it's done
		 * in the top conditional, the secondSnooze is always true;
		 */
		secondSnooze = false;

	}

	// Reset beepMode bool
	beepMode = false;

}

/*
 * General Falling-Edge EXTI Callback function
 *
 * Internal conditional determines which function to call
 * based on which button was pressed.
 */
void HAL_GPIO_EXTI_Falling_Callback(uint16_t GPIO_Pin) {

	HAL_StatusTypeDef halRet;					// Flag for printing interrupt status

	if(GPIO_Pin == displayButtonPin) {
		halRet = displayButtonISR();
		if (halRet != HAL_OK) {
			//printf("Error toggling display.\n\r");
		} else {
			//printf("Display intensity toggled.\n\r");
		}
	}
	else if(GPIO_Pin == alarmEnableButtonPin) {
		halRet = alarmEnableISR();
		if (halRet != HAL_OK) {
			//printf("Error toggling user alarm.\n\r");
		} else {
			//printf("User alarm toggled.\n\r");
		}
	}
	else if(GPIO_Pin == alarmSetButtonPin) {
		halRet = alarmSetISR();
		if (halRet != HAL_OK) {
			//printf("Error setting user alarm.\n\r");
		} else {
			//printf("User alarm set.\n\r");
		}
	}
	else if(GPIO_Pin == hourSetButtonPin) {
		halRet = hourSetISR();
		if (halRet != HAL_OK) {
			//printf("Error incrementing hour.\n\r");
		} else {
			//printf("Hour increment ISR success.\n\r");
		}
	}
	else if(GPIO_Pin == minuteSetButtonPin) {
		halRet = minuteSetISR();
		if (halRet != HAL_OK) {
			//printf("Error incrementing minute.\n\r");
		} else {
			//printf("Minute increment ISR success.\n\r");
		}
	}
	else if(GPIO_Pin == timeFormatSwitchPin) {

		halRet = timeFormatSwitchISR();

	}

	else {			//Code should never reach here, but do nothing if it does.
		__NOP();
	}

}

void HAL_GPIO_EXTI_Rising_Callback(uint16_t GPIO_Pin) {

	if(GPIO_Pin == timeFormatSwitchPin) {

		timeFormatSwitchISR();

	}

}

/*
 * Used for second snooze functionality
 *
 * This is entered at the end of a 10-minute snooze, at
 * which point the timer kicks back an interrupt.
 */
void HAL_TIM_PeriodElapsedCallback(TIM_HandleTypeDef *htim) {

	snoozeCounter++;

	if((htim == timerSnooze) && (secondSnooze == true) && (snoozeCounter == timerSnooze_RCR) ) {

		userAlarmBeep();

	}

}

/*
 * Toggles through user time display brightness settings
 */
HAL_StatusTypeDef displayButtonISR(void) {

	HAL_StatusTypeDef halRet = HAL_OK;

	updateAndDisplayTime();

	sevSeg_setIntensity(sevSeg_intensityDuty[displayToggle]);		//Turn display to proper duty cycle

	displayToggle = !displayToggle;

	return halRet;				// Return HAL status

}

/*
 * Toggles user alarm enable bool and alarm enable LED.
 */
HAL_StatusTypeDef alarmEnableISR(void) {

	//printf("Entered alarm toggle ISR\n\r");
	HAL_StatusTypeDef halRet = HAL_OK;

	if(!userAlarmToggle) {					// If alarm is disabled, enable it.

		userAlarmToggle = true;								// Toggle internal flag to true

	}
	else if (userAlarmToggle) {				// If alarm is enabled, disable it.

		userAlarmToggle = false;							// Toggle internal flag to false
	}
	else {
		__NOP();							//Code should never reach here.
	}

	updateAndDisplayTime();				// Update display with correct decimal point

	// Reset snooze time
	secondSnooze = false;
	snoozeCounter = 0;

	// Stop snooze timer in case it is going
	HAL_TIM_Base_Stop_IT(timerSnooze);
	timerSnooze->Instance->CNT &= 0xFFFF0000;
	timerSnooze->Instance->SR &= 0xFFFC;

	return halRet;

}

/*
 * Delays for 3 seconds, checks if alarm set button is still pressed.
 * If it is, allow user to set the new alarm time
 * and blink display to indicate this
 *
 */
HAL_StatusTypeDef alarmSetISR(void) {

	HAL_StatusTypeDef halRet = HAL_OK;

	/*
	 * Wait for 3 seconds to see if alarm set button is still pressed
	 */

	// Delay for 3 * 1s intervals
	for(uint8_t i = 0; i < 3; i++) {

		HAL_TIM_Base_Stop(timerDelay);
		timerDelay->Instance->CNT = 0;						// Reset timer base
		HAL_TIM_Base_Start(timerDelay);						// Begin timer 16 counting (to 1 s)
	//	timerVal = __HAL_TIM_GET_COUNTER(timerDelay);	// Get initial timer value to compare to

		do {

		} while(__HAL_TIM_GET_COUNTER(timerDelay) < (65535));
	}

	// If button is still pressed, we are in alarm set mode.
	if(HAL_GPIO_ReadPin(alarmSetButtonPort, alarmSetButtonPin) == GPIO_PIN_RESET) {
		alarmSetMode = true;
	}
	else {
		return halRet;
	}

	/*
	 * Then, if we are in alarm set mode, go through the
	 * alarm set process until the button is pressed again
	 */

	// Reset Timer
	HAL_TIM_Base_Stop(timerDelay);
	timerDelay->Instance->CNT = 0;
	HAL_TIM_Base_Start(timerDelay);						// Begin timer 16 counting (to 1 s)
	uint16_t timerVal = __HAL_TIM_GET_COUNTER(timerDelay);	// Get initial timer value to compare to

	bool alarmSetButtonReset = false;

	if(alarmSetMode) {

		// If we were in second snooze mode, kill it.

		secondSnooze = false;
		snoozeCounter = 0;

		// Stop snooze timer in case it is going
		HAL_TIM_Base_Stop_IT(timerSnooze);
		timerSnooze->Instance->CNT &= 0xFFFF0000;
		timerSnooze->Instance->SR &= 0xFFFC;

		bool displayBlink = false;

		do {											// while the alarm set button is not held down, blink display.

			// Check to make sure the user has released the set button from the initial hold
			if(HAL_GPIO_ReadPin(alarmSetButtonPort, alarmSetButtonPin) == GPIO_PIN_SET) {
				alarmSetButtonReset = true;
			}

			updateAndDisplayAlarm();

			if(__HAL_TIM_GET_COUNTER(timerDelay) - timerVal >= (65536 / 2)) {

				sevSeg_setIntensity(sevSeg_intensityDuty[displayBlink]);		// Initialize to whatever duty cycle

				timerVal = __HAL_TIM_GET_COUNTER(timerDelay);
				displayBlink = !displayBlink;

			}

		}while((HAL_GPIO_ReadPin(alarmSetButtonPort, alarmSetButtonPin) != GPIO_PIN_RESET)
				|| !alarmSetButtonReset);

		sevSeg_setIntensity(sevSeg_intensityDuty[1]);			// Turn display back to 50% intensity

		HAL_TIM_Base_Stop(timerDelay);

		updateAndDisplayTime();

	}

	alarmSetMode = false;		// We have exited alarm set mode

	//printf("Current time back to %u:%u:%u.\n\r", currTime.Hours, currTime.Minutes, currTime.Seconds);

	return halRet;

}

/*
 * Increment either user alarm hour value or RTC hour value
 */
HAL_StatusTypeDef hourSetISR(void) {

	HAL_StatusTypeDef halRet = HAL_OK;

	if(alarmSetMode) {	// If the clock is in alarm set mode, change user alarm time hour

		alarmHourInc();

	}
	else {									// Otherwise, change current time hour.

		currHourInc();

		HAL_RTC_SetTime(&hrtc, &currTime, RTCTimeFormat);

		updateAndDisplayTime();

		getRTCTime(&hrtc, &currTime, &currDate);

		//printf("Current time hour incremented to %u:%u:%u.\n\r", currTime.Hours,
				//currTime.Minutes, currTime.Seconds);
	}

	return halRet;

}

/*
 * Increment either user alarm minute value or RTC minute value
 */
HAL_StatusTypeDef minuteSetISR(void) {

	HAL_StatusTypeDef halRet = HAL_OK;

	if(alarmSetMode) {	// If the clock is in alarm set mode, change user alarm time hour

		alarmMinuteInc();

	}
	else {									// Otherwise, change current time hour.

		currMinuteInc();

		HAL_RTC_SetTime(&hrtc, &currTime, RTCTimeFormat);

		/*
		 * Change internal RTC alarm to keep it triggering
		 */

		RTC_AlarmTypeDef sAlarm = {0};
		HAL_RTC_GetAlarm(&hrtc, &sAlarm, internalAlarm, RTCTimeFormat);
		getRTCTime(&hrtc, &currTime, &currDate);

		if(currTime.Minutes > 58) {

			sAlarm.AlarmTime.Minutes = 0;

		} else {

			sAlarm.AlarmTime.Minutes = currTime.Minutes + 1;

		}
		while(HAL_RTC_SetAlarm_IT(&hrtc, &sAlarm, FORMAT_BIN)!=HAL_OK){}

		updateAndDisplayTime();

		getRTCTime(&hrtc, &currTime, &currDate);

		//printf("Current time minute incremented to %u:%u:%u.\n\r", currTime.Hours,
				//currTime.Minutes, currTime.Seconds);
	}

	return halRet;
}

/*
 * Switch hour format (12 or 24 hr)
 */
HAL_StatusTypeDef timeFormatSwitchISR(void) {

	HAL_StatusTypeDef halRet = HAL_OK;

	// Determine which time format we will be using
	if(HAL_GPIO_ReadPin(timeFormatSwitchPort, timeFormatSwitchPin) == userTimeFormatGPIO_12) {
	  userTimeFormat = RTC_HOURFORMAT_12;
	}
	else {
	  userTimeFormat = RTC_HOURFORMAT_24;
	}

	updateAndDisplayTime();

	return halRet;

}

/*
 * Increment user alarm time hour
 */
void alarmHourInc(void) {

	if(userAlarmTime.Hours >= 12) {
		userAlarmTime.Hours = 1;
	}
	else if(userAlarmTime.Hours == 11) {
		if(userAlarmTime.TimeFormat == RTC_HOURFORMAT12_AM) {
			userAlarmTime.TimeFormat = RTC_HOURFORMAT12_PM;
		}
		else {
			userAlarmTime.TimeFormat = RTC_HOURFORMAT12_AM;
		}
		userAlarmTime.Hours = 12;
	}
	else if(userAlarmTime.Hours < 11) {
		userAlarmTime.Hours = userAlarmTime.Hours + 1;
	}
	else {
		__NOP();
	}

	// Update RTC backup registers with new user alarm time
	updateRTCBackupReg();

}

/*
 * Increment current time hour
 */
void currHourInc(void) {

	getRTCTime(&hrtc, &currTime, &currDate);

	if(currTime.Hours >= 12) {
		currTime.Hours = 1;
	}
	else if(currTime.Hours == 11) {
		if(currTime.TimeFormat == RTC_HOURFORMAT12_AM) {
			currTime.TimeFormat = RTC_HOURFORMAT12_PM;
		}
		else {
			currTime.TimeFormat = RTC_HOURFORMAT12_AM;
		}
		currTime.Hours = 12;
	}
	else if(userAlarmTime.Hours < 11) {
		currTime.Hours = currTime.Hours + 1;
	}
	else {
		__NOP();
	}

	// Reset seconds
	currTime.Seconds = 0;
	currTime.SecondFraction = 0;

}

/*
 * Increment User alarm time minute
 */
void alarmMinuteInc(void) {

	if(userAlarmTime.Minutes >= 59) {
		/*
		 * The below function call is the old version in which
		 * the hour will increment when the minutes roll over.
		 */
		//alarmHourInc();
		userAlarmTime.Minutes = 0;
	}
	else if(userAlarmTime.Minutes < 59) {
		userAlarmTime.Minutes = userAlarmTime.Minutes + 1;
	}
	else {
		__NOP();
	}

	// Update RTC backup registers with new user alarm time
	updateRTCBackupReg();

}

/*
 * Increment current time minute
 */
void currMinuteInc(void) {

	getRTCTime(&hrtc, &currTime, &currDate);

	if(currTime.Minutes >= 59) {

		/*
		 * The below function call is the old version in which
		 * the hour will increment when the minutes roll over.
		 */
		// currHourInc();

		currTime.Minutes = 0;
	}
	else if(currTime.Minutes < 59) {
		currTime.Minutes = currTime.Minutes + 1;
	}
	else {
		__NOP();
	}

	// Reset seconds
	currTime.Seconds = 0;
	currTime.SecondFraction = 0;

}

/*
 * Displays a non-critical fault to indicate reduced functionality
 */
void dispFault(void) {
	HAL_GPIO_WritePin(debugLEDPort, debugLEDPin, GPIO_PIN_SET);
}

/*
 * Displays a critical failure and ceases all operations
 */
void dispFailure(void) {

	HAL_TIM_Base_Stop(timerDelay);
	HAL_TIM_Base_Start(timerDelay);						// Begin timer 16 counting (to 500 ms)
	uint32_t timerVal = __HAL_TIM_GET_COUNTER(timerDelay);	// Get initial timer value to compare to
	bool displayBlink = false;

	do {

		if(__HAL_TIM_GET_COUNTER(timerDelay) - timerVal >= (65535 / 4)) {		// Use hardware timer to blink/beep display

			HAL_GPIO_TogglePin(debugLEDPort, debugLEDPin);

			timerVal = __HAL_TIM_GET_COUNTER(timerDelay);				// Update timer value

			displayBlink = !displayBlink;							// Toggle display blink counter

		}

	} while(1);

}

/*
 * Updates RTC backup register with user alarm time to be later pulled from in the case of a power outage
 */
void updateRTCBackupReg(void) {

	HAL_RTCEx_BKUPWrite(&hrtc, userAlarmHourBackupReg, userAlarmTime.Hours);
	HAL_RTCEx_BKUPWrite(&hrtc, userAlarmMinuteBackupReg, userAlarmTime.Minutes);
	HAL_RTCEx_BKUPWrite(&hrtc, userAlarmTFBackupReg, userAlarmTime.TimeFormat);

}

/*
 * Converts the time in an AM/PM RTC time to 24-hour time
 * Returns this time in an RTC Time Def object
 */
RTC_TimeTypeDef conv2Mil(RTC_TimeTypeDef *oldTime) {

	RTC_TimeTypeDef convertedTime = *oldTime;

	// If we are in PM, increment hours by 12 (but not if it is 12 p.m.)
	if(oldTime->TimeFormat == RTC_HOURFORMAT12_PM && oldTime->Hours != 12) {
		convertedTime.Hours += 12;
	}
	// If we are in AM and the hours are 12, set hours to 0.
	else if(oldTime->TimeFormat == RTC_HOURFORMAT12_AM && oldTime->Hours == 12) {
		convertedTime.Hours = 0;
	}
	else { // No change

	}

	// Make the update and display time function think that it is AM always
	convertedTime.TimeFormat = RTC_HOURFORMAT12_AM;

	return convertedTime;

}

/*
 * Begins DMA streams to pull data from memory, process data, and push to i2s amplifier.
 */
void startAudioStream(void) {

	// Pre-fill TX buffer
	fillTxBuffer(0);
	fillTxBuffer(BUFFER_SIZE);

	// Start TX DMA stream
	HAL_I2S_Transmit_DMA(&hi2s1, i2sTxBuff, BUFFER_SIZE * 2);

	// Enable Amplifier
	NAU8315YG_AmpEnable(&i2sAmp);

	// Interrupts will take care of the rest.

}

/*
 * Halts DMA streams
 */
void stopAudioStream(void) {

	// Disable Amplifier
	NAU8315YG_AmpDisable(&i2sAmp);

	// Stop DMA Stream
	HAL_I2S_DMAStop(&hi2s1);

	// Reset memory address pointer
	flashReadAddr = initialMemoryOffset;

}

/*
 * DMA completion callbacks
 */

void HAL_I2S_TxHalfCpltCallback(I2S_HandleTypeDef *hi2s) {

	// Fill first half of i2s TX buffer
	fillTxBuffer(0);

}

void HAL_I2S_TxCpltCallback(I2S_HandleTypeDef *hi2s) {

	// Fill second half of i2s transmit buffer
	fillTxBuffer(BUFFER_SIZE);

}

void fillTxBuffer(uint16_t offset) {

	// Read next chunk of audio data, increment flash read address
	W25Q_readData(&spiFlash, flashReadAddr, BUFFER_SIZE, spiRxBuff);
	flashReadAddr += BUFFER_SIZE;

	// Playing all of a mono file canS-mono-reduced
	 for(uint16_t i = 0; i < BUFFER_SIZE; i += 2) {

		 i2sTxBuff[offset + (i) + 1] = (spiRxBuff[i + 1] << 8) | spiRxBuff[i];

	 }

	// If we have reached the end of the audio clip, reset flash read address
	if(flashReadAddr > audioAddr_END) {
		flashReadAddr = initialMemoryOffset;
	}

}

void HAL_I2S_ErrorCallback(I2S_HandleTypeDef *hi2s) {

	//TEST?
	__NOP();

}

/* USER CODE END 4 */

void Error_Handler(void)
{
  __disable_irq();
  while (1)
  {
  }
}
